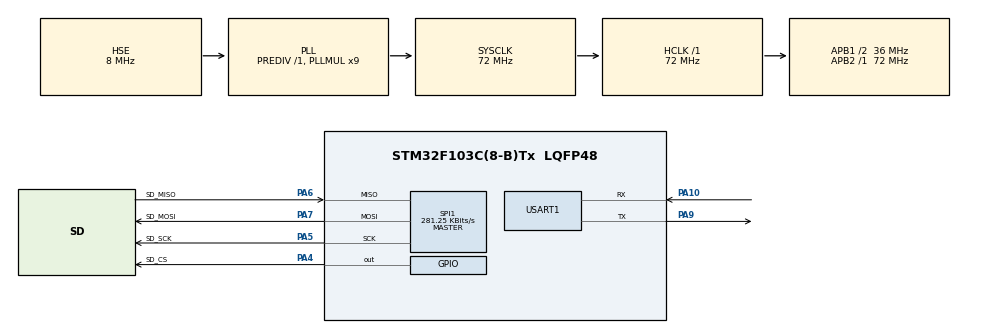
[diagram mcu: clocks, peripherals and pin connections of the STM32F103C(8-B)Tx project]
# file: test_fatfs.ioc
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Mcu.Family=STM32F1
Mcu.Name=STM32F103C(8-B)Tx
Mcu.Package=LQFP48
NVIC.PriorityGroup=NVIC_PRIORITYGROUP_4
PA10.Mode=Asynchronous
PA10.Signal=USART1_RX
PA13.Mode=Serial_Wire
PA13.Signal=SYS_JTMS-SWDIO
PA14.Mode=Serial_Wire
PA14.Signal=SYS_JTCK-SWCLK
PA4.GPIO_Label=SD_CS
PA4.GPIO_PuPd=GPIO_PULLUP
PA4.PinState=GPIO_PIN_SET
PA4.Signal=GPIO_Output
PA5.GPIO_Label=SD_SCK
PA5.Mode=Full_Duplex_Master
PA5.Signal=SPI1_SCK
PA6.GPIO_Label=SD_MISO
PA6.GPIO_PuPd=GPIO_PULLUP
PA6.Mode=Full_Duplex_Master
PA6.Signal=SPI1_MISO
PA7.GPIO_Label=SD_MOSI
PA7.Mode=Full_Duplex_Master
PA7.Signal=SPI1_MOSI
PA9.Mode=Asynchronous
PA9.Signal=USART1_TX
PD0-OSC_IN.Mode=HSE-External-Oscillator
PD0-OSC_IN.Signal=RCC_OSC_IN
PD1-OSC_OUT.Mode=HSE-External-Oscillator
PD1-OSC_OUT.Signal=RCC_OSC_OUT
ProjectManager.HeapSize=0x200
ProjectManager.StackSize=0x400
ProjectManager.TargetToolchain=STM32CubeIDE
RCC.AHBFreq_Value=72000000
RCC.APB1CLKDivider=RCC_HCLK_DIV2
RCC.APB1Freq_Value=36000000
RCC.APB1TimFreq_Value=72000000
RCC.APB2Freq_Value=72000000
RCC.APB2TimFreq_Value=72000000
RCC.HCLKFreq_Value=72000000
RCC.PLLMUL=RCC_PLL_MUL9
RCC.PLLSourceVirtual=RCC_PLLSOURCE_HSE
RCC.SYSCLKFreq_VALUE=72000000
RCC.SYSCLKSource=RCC_SYSCLKSOURCE_PLLCLK
RCC.USBFreq_Value=72000000
SPI1.BaudRatePrescaler=SPI_BAUDRATEPRESCALER_256
SPI1.CalculateBaudRate=281.25 KBits/s
SPI1.Direction=SPI_DIRECTION_2LINES
SPI1.Mode=SPI_MODE_MASTER
SPI1.VirtualType=VM_MASTER
USART1.VirtualMode=VM_ASYNC
VP_FATFS_VS_Generic.Mode=User_defined
board=custom

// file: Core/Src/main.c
/* USER CODE BEGIN Header */
/**
 ******************************************************************************
 * @file           : main.c
 * @brief          : Main program body
 ******************************************************************************
 * @attention
 *
 * Copyright (c) 2025 STMicroelectronics.
 * All rights reserved.
 *
 * This software is licensed under terms that can be found in the LICENSE file
 * in the root directory of this software component.
 * If no LICENSE file comes with this software, it is provided AS-IS.
 *
 ******************************************************************************
 */
/* USER CODE END Header */
#include "main.h"

#include "fatfs.h"
#include "gpio.h"
#include "spi.h"
#include "usart.h"

/* USER CODE BEGIN Includes */
#include "sd_card_fs.h"

/* USER CODE END Includes */

void SystemClock_Config(void);

int main(void) {

  /* MCU Configuration--------------------------------------------------------*/

  /* Reset of all peripherals, Initializes the Flash interface and the Systick. */
  HAL_Init();

  /* Configure the system clock */
  SystemClock_Config();

  /* Initialize all configured peripherals */
  MX_GPIO_Init();
  MX_SPI1_Init();
  MX_USART1_UART_Init();

  /* USER CODE BEGIN 2 */
  sd_card_init();
  sd_card_mount();
  sd_card_format();
  sd_card_unmount();
  sd_card_mount();
  HAL_UART_Transmit(&huart1, (uint8_t *)"Initialized and Mounted SD Card\n", 33, HAL_MAX_DELAY);

  char test_data_write_1[] = "testing123\ntesting456\n";
  int test_write_count = 0;
  sd_card_write_file("test.txt", (uint8_t *)test_data_write_1, sizeof(test_data_write_1), &test_write_count);
  HAL_UART_Transmit(&huart1, (uint8_t *)"Wrote test.txt\n", 15, HAL_MAX_DELAY);

  char test_data_read_1[256];
  int test_read_count = 0;
  sd_card_read_file("test.txt", (uint8_t *)test_data_read_1, sizeof(test_data_read_1), &test_read_count);
  HAL_UART_Transmit(&huart1, (uint8_t *)test_data_read_1, test_read_count, HAL_MAX_DELAY);

  char test_data_write_2[] = "line1\nline2\nline3\nline4\nline5\n";
  sd_card_write_file("test.txt", (uint8_t *)test_data_write_2, sizeof(test_data_write_2), &test_write_count);
  HAL_UART_Transmit(&huart1, (uint8_t *)"Wrote test.txt\n", 16, HAL_MAX_DELAY);

  char test_data_read_2[256];
  sd_card_read_file("test.txt", (uint8_t *)test_data_read_2, sizeof(test_data_read_2), &test_read_count);
  HAL_UART_Transmit(&huart1, (uint8_t *)test_data_read_2, test_read_count, HAL_MAX_DELAY);

  sd_card_unmount();

  HAL_UART_Transmit(&huart1, (uint8_t *)"Finished SD Card Operations\n", 28, HAL_MAX_DELAY);

  /* USER CODE END 2 */

  /* Infinite loop */
  while (1) {

    /* USER CODE BEGIN 3 */
    HAL_Delay(1000);
  }
  /* USER CODE END 3 */
}

void SystemClock_Config(void) {
  RCC_OscInitTypeDef RCC_OscInitStruct = {0};
  RCC_ClkInitTypeDef RCC_ClkInitStruct = {0};

  /** Initializes the RCC Oscillators according to the specified parameters
   * in the RCC_OscInitTypeDef structure.
   */
  RCC_OscInitStruct.OscillatorType = RCC_OSCILLATORTYPE_HSE;
  RCC_OscInitStruct.HSEState = RCC_HSE_ON;
  RCC_OscInitStruct.HSEPredivValue = RCC_HSE_PREDIV_DIV1;
  RCC_OscInitStruct.HSIState = RCC_HSI_ON;
  RCC_OscInitStruct.PLL.PLLState = RCC_PLL_ON;
  RCC_OscInitStruct.PLL.PLLSource = RCC_PLLSOURCE_HSE;
  RCC_OscInitStruct.PLL.PLLMUL = RCC_PLL_MUL9;
  if (HAL_RCC_OscConfig(&RCC_OscInitStruct) != HAL_OK) {
    Error_Handler();
  }

  /** Initializes the CPU, AHB and APB buses clocks
   */
  RCC_ClkInitStruct.ClockType = RCC_CLOCKTYPE_HCLK | RCC_CLOCKTYPE_SYSCLK | RCC_CLOCKTYPE_PCLK1 | RCC_CLOCKTYPE_PCLK2;
  RCC_ClkInitStruct.SYSCLKSource = RCC_SYSCLKSOURCE_PLLCLK;
  RCC_ClkInitStruct.AHBCLKDivider = RCC_SYSCLK_DIV1;
  RCC_ClkInitStruct.APB1CLKDivider = RCC_HCLK_DIV2;
  RCC_ClkInitStruct.APB2CLKDivider = RCC_HCLK_DIV1;

  if (HAL_RCC_ClockConfig(&RCC_ClkInitStruct, FLASH_LATENCY_2) != HAL_OK) {
    Error_Handler();
  }
}

void Error_Handler(void) {
  __disable_irq();
  while (1) {
  }
}
